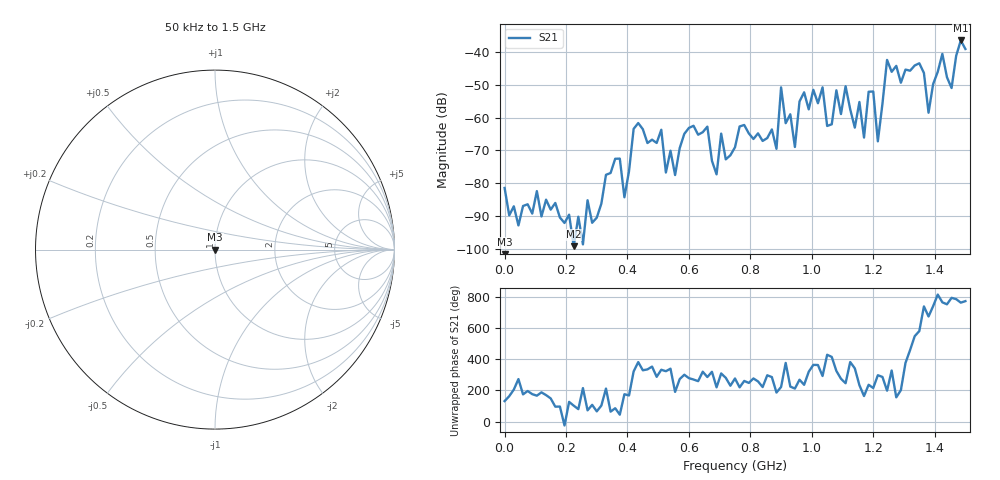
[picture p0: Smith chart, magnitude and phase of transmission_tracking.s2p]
! Created with skrf 1.8.0 (http://scikit-rf.org).
# Hz S RI R 50.0
!freq ReS11 ImS11 ReS21 ImS21 ReS12 ImS12 ReS22 ImS22
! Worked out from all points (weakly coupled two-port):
!   101 points, 50 kHz to 1.5 GHz, reference 50 ohm
!   highest |S21| = -36.39 dB at 1.485 GHz (marker M1); lowest = -99.2 dB at 225 MHz (marker M2)
!   lowest |S11| = - dB at 50 kHz (marker M3), VSWR 1.00, Z = 50 + j0 ohm
!   |S11| at or under -10 dB: start of sweep to end of sweep
!   S12 and S22 are empty: the file has one direction only
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50000  0 0  -5.64e-05 6.32e-05  0 0  0 0
2.250425e8  0 0  -2.36e-06 1.07e-05  0 0  0 0
2.550415e8  0 0  -9.55e-06 -6.64e-06  0 0  0 0
5.10033e8  0 0  0.00058 -0.000306  0 0  0 0
5.550315e8  0 0  -0.000131 -2.4e-05  0 0  0 0
6.150295e8  0 0  -3.98e-06 -0.000754  0 0  0 0
6.90027e8  0 0  -0.000105 -8.73e-05  0 0  0 0
7.50025e8  0 0  3.86e-05 -0.000352  0 0  0 0
8.850205e8  0 0  -0.000333 -3.7e-05  0 0  0 0
9.0002e8  0 0  -0.00217 -0.00194  0 0  0 0
9.450185e8  0 0  -0.000304 -0.00019  0 0  0 0
1.005016e9  0 0  0.00266 0.000164  0 0  0 0
1.110013e9  0 0  -0.00123 -0.00277  0 0  0 0
1.170011e9  0 0  -0.000479 0.000137  0 0  0 0
1.20001e9  0 0  -0.00205 -0.00146  0 0  0 0
1.21501e9  0 0  0.000199 -0.000388  0 0  0 0
1.245008e9  0 0  -0.00725 -0.00239  0 0  0 0
1.260008e9  0 0  0.00424 -0.00271  0 0  0 0
1.350005e9  0 0  -0.00522 -0.00434  0 0  0 0
1.380004e9  0 0  0.000815 -0.000872  0 0  0 0
1.485e9  0 0  0.0114 0.01  0 0  0 0
1.5e9  0 0  0.00703 0.00875  0 0  0 0
